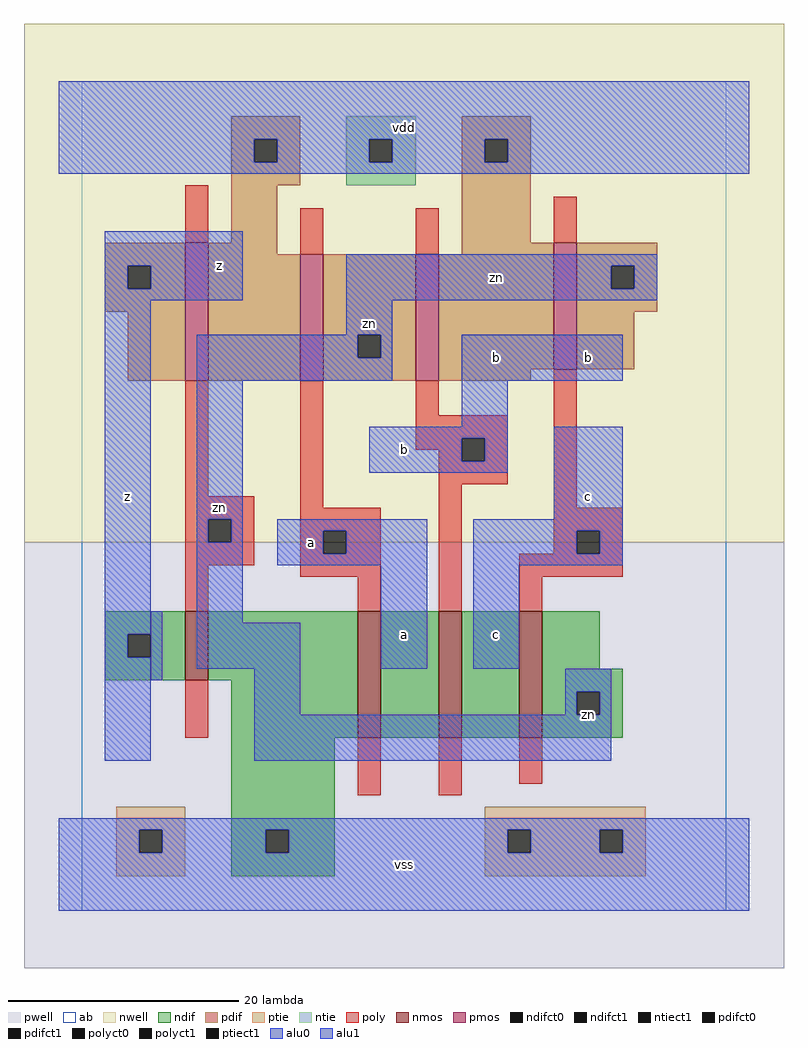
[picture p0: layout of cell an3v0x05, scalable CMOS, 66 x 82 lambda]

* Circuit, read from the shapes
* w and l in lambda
.subckt an3v0x05 a b c vdd vss z zn
M1 vss zn z vss nfet w=6 l=2
M2 n1 a vss vss nfet w=11 l=2
M3 n2 b n1 vss nfet w=11 l=2
M4 zn c n2 vss nfet w=11 l=2
M5 vdd zn z vdd pfet w=12 l=2
M6 zn a vdd vdd pfet w=11 l=2
M7 vdd b zn vdd pfet w=11 l=2
M8 zn c vdd vdd pfet w=11 l=2
.ends

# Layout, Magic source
magic
tech scmos
<< ab >>
rect 0 0 56 72
<< nwell >>
rect -5 32 61 77
<< pwell >>
rect -5 -5 61 32
<< poly >>
rect 9 58 11 63
rect 19 57 21 61
rect 29 57 31 61
rect 41 58 43 62
rect 9 36 11 46
rect 9 34 15 36
rect 9 32 11 34
rect 13 32 15 34
rect 9 30 15 32
rect 19 35 21 46
rect 29 43 31 46
rect 29 41 37 43
rect 29 40 33 41
rect 31 39 33 40
rect 35 39 37 41
rect 31 37 37 39
rect 19 33 26 35
rect 19 31 21 33
rect 23 31 26 33
rect 9 26 11 30
rect 19 29 26 31
rect 24 26 26 29
rect 31 26 33 37
rect 41 35 43 47
rect 41 33 47 35
rect 41 31 43 33
rect 45 31 47 33
rect 38 29 47 31
rect 38 26 40 29
rect 9 15 11 20
rect 24 10 26 15
rect 31 10 33 15
rect 38 11 40 15
<< ndif >>
rect 2 24 9 26
rect 2 22 4 24
rect 6 22 9 24
rect 2 20 9 22
rect 11 20 24 26
rect 13 15 24 20
rect 26 15 31 26
rect 33 15 38 26
rect 40 21 45 26
rect 40 19 47 21
rect 40 17 43 19
rect 45 17 47 19
rect 40 15 47 17
rect 13 7 22 15
rect 13 5 16 7
rect 18 5 22 7
rect 13 3 22 5
<< pdif >>
rect 13 67 19 69
rect 13 65 15 67
rect 17 65 19 67
rect 13 63 19 65
rect 33 67 39 69
rect 33 65 35 67
rect 37 65 39 67
rect 13 58 17 63
rect 2 56 9 58
rect 2 54 4 56
rect 6 54 9 56
rect 2 52 9 54
rect 4 46 9 52
rect 11 57 17 58
rect 33 58 39 65
rect 33 57 41 58
rect 11 46 19 57
rect 21 50 29 57
rect 21 48 24 50
rect 26 48 29 50
rect 21 46 29 48
rect 31 47 41 57
rect 43 56 50 58
rect 43 54 46 56
rect 48 54 50 56
rect 43 52 50 54
rect 43 47 48 52
rect 31 46 39 47
<< alu1 >>
rect -2 67 58 72
rect -2 65 15 67
rect 17 65 25 67
rect 27 65 35 67
rect 37 65 58 67
rect -2 64 58 65
rect 2 56 14 59
rect 2 54 4 56
rect 6 54 14 56
rect 2 53 14 54
rect 2 24 6 53
rect 33 46 47 50
rect 33 42 37 46
rect 25 41 37 42
rect 25 39 33 41
rect 35 39 37 41
rect 25 38 37 39
rect 41 34 47 42
rect 2 22 4 24
rect 2 13 6 22
rect 17 33 30 34
rect 17 31 21 33
rect 23 31 30 33
rect 17 30 30 31
rect 26 21 30 30
rect 34 33 47 34
rect 34 31 43 33
rect 45 31 47 33
rect 34 30 47 31
rect 34 21 38 30
rect -2 7 58 8
rect -2 5 5 7
rect 7 5 16 7
rect 18 5 37 7
rect 39 5 45 7
rect 47 5 58 7
rect -2 0 58 5
<< ptie >>
rect 3 7 9 9
rect 3 5 5 7
rect 7 5 9 7
rect 3 3 9 5
rect 35 7 49 9
rect 35 5 37 7
rect 39 5 45 7
rect 47 5 49 7
rect 35 3 49 5
<< ntie >>
rect 23 67 29 69
rect 23 65 25 67
rect 27 65 29 67
rect 23 63 29 65
<< nmos >>
rect 9 20 11 26
rect 24 15 26 26
rect 31 15 33 26
rect 38 15 40 26
<< pmos >>
rect 9 46 11 58
rect 19 46 21 57
rect 29 46 31 57
rect 41 47 43 58
<< polyct0 >>
rect 11 32 13 34
<< polyct1 >>
rect 33 39 35 41
rect 21 31 23 33
rect 43 31 45 33
<< ndifct0 >>
rect 43 17 45 19
<< ndifct1 >>
rect 4 22 6 24
rect 16 5 18 7
<< ntiect1 >>
rect 25 65 27 67
<< ptiect1 >>
rect 5 5 7 7
rect 37 5 39 7
rect 45 5 47 7
<< pdifct0 >>
rect 24 48 26 50
rect 46 54 48 56
<< pdifct1 >>
rect 15 65 17 67
rect 35 65 37 67
rect 4 54 6 56
<< alu0 >>
rect 23 56 50 57
rect 23 54 46 56
rect 48 54 50 56
rect 23 53 50 54
rect 23 50 27 53
rect 10 48 24 50
rect 26 48 27 50
rect 10 46 27 48
rect 10 34 14 46
rect 10 32 11 34
rect 13 32 14 34
rect 6 20 7 26
rect 10 25 14 32
rect 10 21 19 25
rect 15 17 19 21
rect 42 19 46 21
rect 42 17 43 19
rect 45 17 46 19
rect 15 13 46 17
<< labels >>
rlabel alu0 12 35 12 35 6 zn
rlabel alu0 25 51 25 51 6 zn
rlabel alu0 44 17 44 17 6 zn
rlabel alu0 36 55 36 55 6 zn
rlabel alu1 4 36 4 36 6 z
rlabel alu1 20 32 20 32 6 a
rlabel alu1 12 56 12 56 6 z
rlabel alu1 28 4 28 4 6 vss
rlabel alu1 28 24 28 24 6 a
rlabel alu1 36 24 36 24 6 c
rlabel alu1 28 40 28 40 6 b
rlabel alu1 36 48 36 48 6 b
rlabel alu1 28 68 28 68 6 vdd
rlabel alu1 44 36 44 36 6 c
rlabel alu1 44 48 44 48 6 b
<< end >>
